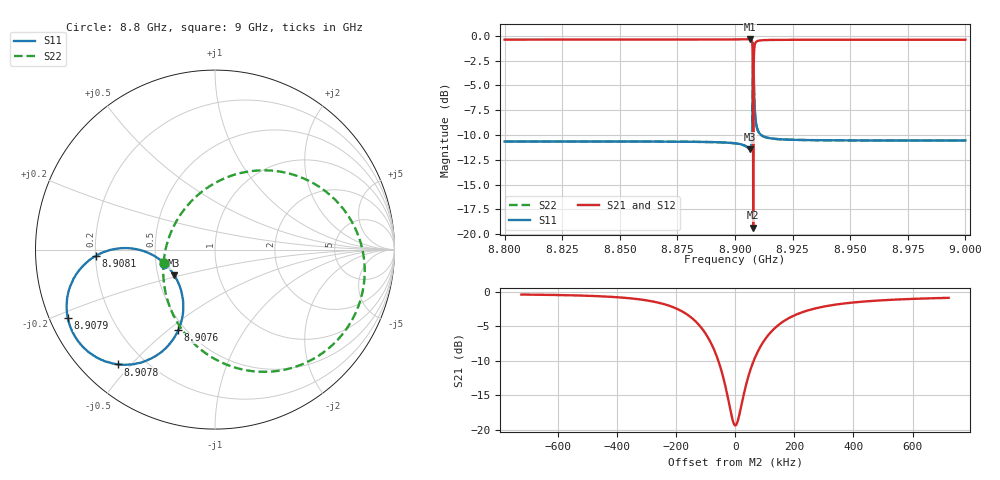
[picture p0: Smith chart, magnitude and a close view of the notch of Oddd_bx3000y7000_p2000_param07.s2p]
! Sonnet Data File
! From: emgraph Version : 16.52
! From Project: Resonator2
! Data is De-embedded
! Data File Written: 10/05/2017 10:46:05
!< HDATE 10/04/2017 20:26:48
!< MDATE 10/05/2017 00:36:07
!< PARAMS
!< gap = 56.0
!< Length = 400.0
!< Pwid1 = 2000.0
!< Pwid2 = 2000.0
!< END PARAMS
# GHZ S MA R 50.00000
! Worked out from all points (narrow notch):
!   1595 points, 8.8 GHz to 9 GHz, reference 50 ohm
!   highest |S21| = -0.34 dB at 8.9064 GHz (marker M1); lowest = -19.4 dB at 8.9079 GHz (marker M2)
!   notch at M2: 19.0 dB deep, 122 kHz wide at half that depth
!   lowest |S11| = -11.4 dB at 8.9066 GHz (marker M3), VSWR 1.73, Z = 30.4 - j9.36 ohm
!   |S11| at or under -10 dB: start of sweep to 8.9074 GHz; 8.9113 GHz to end of sweep
!   |S22| runs from -11.6 to -1.3 dB; largest |S21 - S12| = 0
!   S11 on the Smith chart (normalised r, x): 8.8 GHz: 0.55, -0.10; 8.9076 GHz: 0.46, -0.54; 8.9078 GHz: 0.11, -0.46; 8.9079 GHz: 0.05, -0.22; 8.9081 GHz: 0.20, -0.03; 9 GHz: 0.55, -0.08
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8.8  0.2929 -164.4  0.9561 -75.1  0.9561 -75.1  0.2929 -165.7
!< P1 F=8.8 Eeff=(5.36817953 -2.3731e-5) Z0=(35.9853883 8.0522e-5) R=0.0 C=0.0
!< P2 F=8.8 Eeff=(5.36817953 -2.3731e-5) Z0=(35.9853883 8.0522e-5) R=0.0 C=0.0
8.8334  0.293 -164.6  0.9561 -75.4  0.9561 -75.4  0.293 -166.2
8.8668  0.2927 -164.7  0.9562 -75.8  0.9562 -75.8  0.2927 -166.9
8.9  0.2869 -162.9  0.9579 -77.0  0.9579 -77.0  0.2868 -171.0
8.906367  0.2687 -150.7  0.9622 -81.9  0.9622 -81.9  0.2659 166.9
8.906598  0.268 -147.8  0.9619 -83.0  0.9619 -83.0  0.2641 161.8
8.907341  0.3122 -125.8  0.9421 -92.3  0.9421 -92.3  0.2943 119.2
8.907509  0.3806 -117.7  0.9093 -98.8  0.9093 -98.8  0.3526 95.4
8.907633  0.4945 -114.5  0.8389 -107.8  0.8389 -107.8  0.455 70.4
8.907744  0.6786 -119.1  0.6669 -121.7  0.6669 -121.7  0.6258 40.0
8.907822  0.8364 -130.1  0.4076 -133.7  0.4076 -133.7  0.7759 12.0
8.9079  0.918 -146.8  0.1077 -82.3  0.1077 -82.3  0.8584 -20.3
8.907938  0.9048 -155.0  0.2196 -32.2  0.2196 -32.2  0.8497 -35.5
8.908003  0.8296 -166.0  0.4603 -31.7  0.4603 -31.7  0.7846 -57.3
8.908129  0.6639 -177.0  0.7134 -45.3  0.7134 -45.3  0.6357 -85.7
8.908303  0.5258 179.2  0.8373 -55.8  0.8373 -55.8  0.51 -107.3
8.908605  0.4239 -179.9  0.901 -63.6  0.901 -63.6  0.4165 -126.0
8.9094  0.3493 -175.1  0.9359 -69.9  0.9359 -69.9  0.3472 -144.5
8.910809  0.3205 -171.2  0.9469 -72.8  0.9469 -72.8  0.3199 -154.3
8.933395  0.2976 -166.4  0.9547 -75.8  0.9547 -75.8  0.2976 -165.1
8.9668  0.2965 -166.3  0.955 -76.2  0.955 -76.2  0.2965 -166.2
9  0.2964 -166.4  0.955 -76.5  0.955 -76.5  0.2964 -166.7
